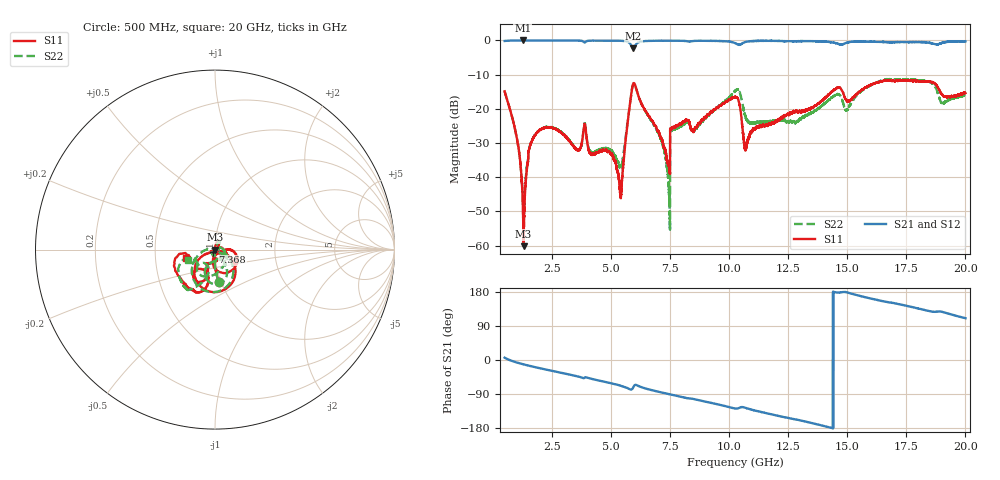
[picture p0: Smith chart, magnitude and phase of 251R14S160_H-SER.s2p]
!{251R14S160}
!Johanson Technology Inc.
!www.johansontechnology.com
!Test Board Conditions:
!Substrate Type  RO4350B
!Substrate Thickness  20 mil
!Substrate Dk  3.66
!TL Type: GCPW
!TL Trace Width  36 mil
!TL Gap  12 mil
!Electrode orientation  Horizontal
!DUT TOPOLOGY	SERIES
!Mounting Pad LxW  26x36 mil
! Created Wed Mar 11 15:50:45 2020
# mhz S ma R 50
! 2 Port Network Data from SP1.SP block
! freq  magS11  angS11  magS21  angS21  magS12  angS12  magS22  angS22
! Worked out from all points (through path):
!   19501 points, 500 MHz to 20 GHz, reference 50 ohm
!   highest |S21| = -0.01 dB at 1.272 GHz (marker M1); lowest = -2.3 dB at 5.949 GHz (marker M2)
!   group delay of S21, straight-line fit = 35 ps
!   lowest |S11| = -60.1 dB at 1.303 GHz (marker M3), VSWR 1.00, Z = 49.9 - j0.0298 ohm
!   |S11| at or under -10 dB: start of sweep to end of sweep
!   |S22| runs from -55.3 to -11.3 dB; largest |S21 - S12| = 0.018
!   S11 on the Smith chart (normalised r, x): 500 MHz: 0.98, -0.36; 7.368 GHz: 0.98, -0.03; 20 GHz: 0.72, -0.07
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500  0.1804 -83.1  0.981 6.3  0.9811 6.2  0.1808 -83.3
1029  0.03586 -96.4  0.9971 -6.8  0.9967 -6.8  0.03566 -94.4
1272  0.003886 -114.7  0.9985 -11.0  0.997 -11.0  0.004042 -64.6
1303  0.0009841 -162.3  0.997 -11.6  0.9972 -11.5  0.002454 -11.3
1589  0.02961 78.8  0.9963 -16.0  0.9964 -15.9  0.03031 68.1
1913  0.04633 73.2  0.9962 -20.6  0.9957 -20.6  0.04656 66.1
3750  0.02975 31.5  0.9873 -46.0  0.9871 -46.0  0.02974 26.6
3892  0.06053 -46.3  0.9337 -46.6  0.9349 -46.5  0.06163 -50.1
4156  0.02169 -135.9  0.9907 -49.3  0.9913 -49.4  0.02325 -128.1
4984  0.02204 -153.8  0.9925 -61.1  0.9931 -61.1  0.02437 -131.9
5406  0.005366 -96.4  0.9871 -67.7  0.9873 -67.6  0.01451 -83.3
5949  0.2333 -81.3  0.7645 -71.5  0.7659 -71.5  0.2348 -87.0
7000  0.04684 -154.6  0.9891 -83.5  0.9897 -83.6  0.04497 -179.2
7368  0.01768 -132.2  0.9914 -88.8  0.9909 -88.8  0.01416 171.5
7445  0.01481 -112.8  0.9903 -89.9  0.9908 -89.8  0.007443 158.8
7598  0.05226 -15.8  0.9894 -92.0  0.9903 -92.0  0.04922 -0.8
8554  0.05159 -7.5  0.9831 -103.7  0.9834 -103.7  0.04975 -43.1
10250  0.1499 -45.8  0.9152 -127.9  0.9147 -127.9  0.1816 -75.0
10710  0.02711 -52.2  0.9546 -126.6  0.9517 -126.5  0.07287 -105.0
13500  0.1051 -114.1  0.9769 -166.3  0.9796 -166.4  0.08977 -46.4
16750  0.2576 -116.0  0.9418 152.3  0.938 152.1  0.2711 -124.5
20000  0.171 -163.6  0.9674 110.2  0.9664 110.4  0.1597 -158.8
